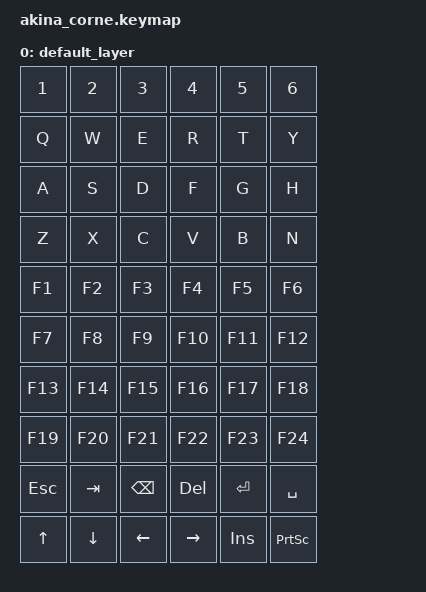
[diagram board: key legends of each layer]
/*
 * Keymap de diagnóstico — Akina Corne Esquerdo
 *
 * Cada tecla emite um caractere/tecla único para identificação dos pinos.
 * Quando você pressionar uma tecla física e ver o output, consulte a tabela:
 *
 * TABELA DE REFERÊNCIA (diode-direction = col2row):
 *
 *          col0   col1   col2   col3   col4   col5
 *          pm4    pm5    pm6    pm7    pm8    pm9
 * row0 pm10  1      2      3      4      5      6
 * row1 pm11  Q      W      E      R      T      Y
 * row2 pm12  A      S      D      F      G      H
 * row3 pm13  Z      X      C      V      B      N
 * row4 pm14  F1     F2     F3     F4     F5     F6
 * row5 pm15  F7     F8     F9     F10    F11    F12
 * row6 pm16  F13    F14    F15    F16    F17    F18
 * row7 pm17  F19    F20    F21    F22    F23    F24
 * row8 pm18  ESC    TAB    BSPC   DEL    ENTER  SPACE
 * row9 pm19  UP     DOWN   LEFT   RIGHT  INS    PSCRN
 *
 * Exemplo: você pressiona uma tecla e aparece "F5"
 *   → row4 (pro_micro 14 = P0.03) × col4 (pro_micro 8 = P0.10)
 *   → row pin = pm14, col pin = pm8
 *
 * Pinos padrão do Corne (ZMK oficial):
 *   cols: pm4, pm5, pm6, pm7, pm8, pm9
 *   rows: pm14, pm15, pm16, pm10
 */

#include <behaviors.dtsi>
#include <dt-bindings/zmk/keys.h>

/ {
    keymap {
        compatible = "zmk,keymap";

        default_layer {
            bindings = <
// row0 (pm10) × cols pm4-pm9
&kp N1     &kp N2     &kp N3     &kp N4     &kp N5     &kp N6
// row1 (pm11) × cols pm4-pm9
&kp Q      &kp W      &kp E      &kp R      &kp T      &kp Y
// row2 (pm12) × cols pm4-pm9
&kp A      &kp S      &kp D      &kp F      &kp G      &kp H
// row3 (pm13) × cols pm4-pm9
&kp Z      &kp X      &kp C      &kp V      &kp B      &kp N
// row4 (pm14) × cols pm4-pm9
&kp F1     &kp F2     &kp F3     &kp F4     &kp F5     &kp F6
// row5 (pm15) × cols pm4-pm9
&kp F7     &kp F8     &kp F9     &kp F10    &kp F11    &kp F12
// row6 (pm16) × cols pm4-pm9
&kp F13    &kp F14    &kp F15    &kp F16    &kp F17    &kp F18
// row7 (pm17) × cols pm4-pm9
&kp F19    &kp F20    &kp F21    &kp F22    &kp F23    &kp F24
// row8 (pm18) × cols pm4-pm9
&kp ESC    &kp TAB    &kp BSPC   &kp DEL    &kp ENTER  &kp SPACE
// row9 (pm19) × cols pm4-pm9
&kp UP     &kp DOWN   &kp LEFT   &kp RIGHT  &kp INS    &kp PSCRN
            >;
        };
    };
};
